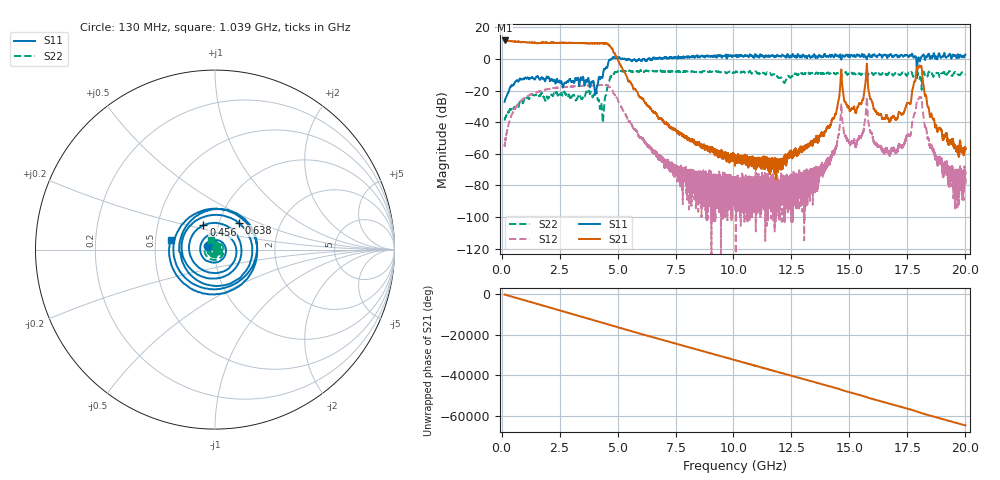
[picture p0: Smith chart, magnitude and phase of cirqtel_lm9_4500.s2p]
!Created with skrf (http://scikit-rf.org).
# GHz S RI R 50.0
!freq ReS11 ImS11 ReS21 ImS21 ReS12 ImS12 ReS22 ImS22
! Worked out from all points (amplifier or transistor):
!   20013 points, 130 MHz to 20 GHz, reference 50 ohm
!   highest |S21| = 11.6 dB at 143 MHz (marker M1)
!   |S21| within 3 dB of that: start of sweep to 4.614 GHz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
!   unconditionally stable (mu >= 1): start of sweep to 4.576 GHz; 5.321 GHz to 5.491 GHz; 5.514 GHz to 6.142 GHz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
!   at 3.465 GHz: K = 1.30, MAG = 10.2 dB, |S12| = -17.1 dB
!   at 10.14 GHz: K = -7086154.63, MSG = 12.6 dB, |S12| = -88.3 dB
!   at 20 GHz: K = -2597980.41, MSG = 11.5 dB, |S12| = -79.8 dB
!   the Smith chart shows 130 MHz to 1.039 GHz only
!   S11 on the Smith chart (normalised r, x): 130 MHz: 0.92, +0.03; 456 MHz: 0.85, +0.24; 638 MHz: 1.24, +0.38; 1.039 GHz: 0.60, +0.07
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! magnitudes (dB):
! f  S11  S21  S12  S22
! 130 MHz  -27.1  11.6  -55.6  -39.0
! 143 MHz  -26.1  11.6  -54.0  -38.0
! 456 MHz  -16.5  11.2  -34.7  -30.9
! 638 MHz  -14.0  10.8  -30.0  -30.5
! 1.039 GHz  -11.9  10.5  -24.5  -24.9
! 3.442 GHz  -12.6  9.9  -17.2  -25.3
! 4.329 GHz  -11.8  9.9  -16.5  -31.7
! 4.625 GHz  -1.1  8.6  -17.5  -14.8
! 6.754 GHz  0.5  -37.0  -63.5  -7.9
! 10.06 GHz  1.7  -63.7  -86.9  -8.5
! 11.93 GHz  1.7  -67.8  -84.1  -11.8
! 13.38 GHz  1.2  -53.1  -73.9  -8.9
! 14.25 GHz  2.5  -38.0  -60.0  -9.0
! 14.65 GHz  -0.3  -7.2  -28.6  -11.5
! 15.23 GHz  1.6  -32.2  -53.4  -9.4
! 15.75 GHz  -0.2  -3.0  -24.1  -14.2
! 16.12 GHz  1.7  -33.2  -54.0  -8.9
! 16.69 GHz  2.1  -38.3  -58.6  -9.1
! 17.58 GHz  1.9  -27.9  -48.5  -8.6
! 18.02 GHz  -1.3  -4.3  -24.2  -12.2
! 18.75 GHz  1.2  -42.8  -62.7  -9.0
! 20 GHz  2.7  -56.7  -79.8  -10.1
